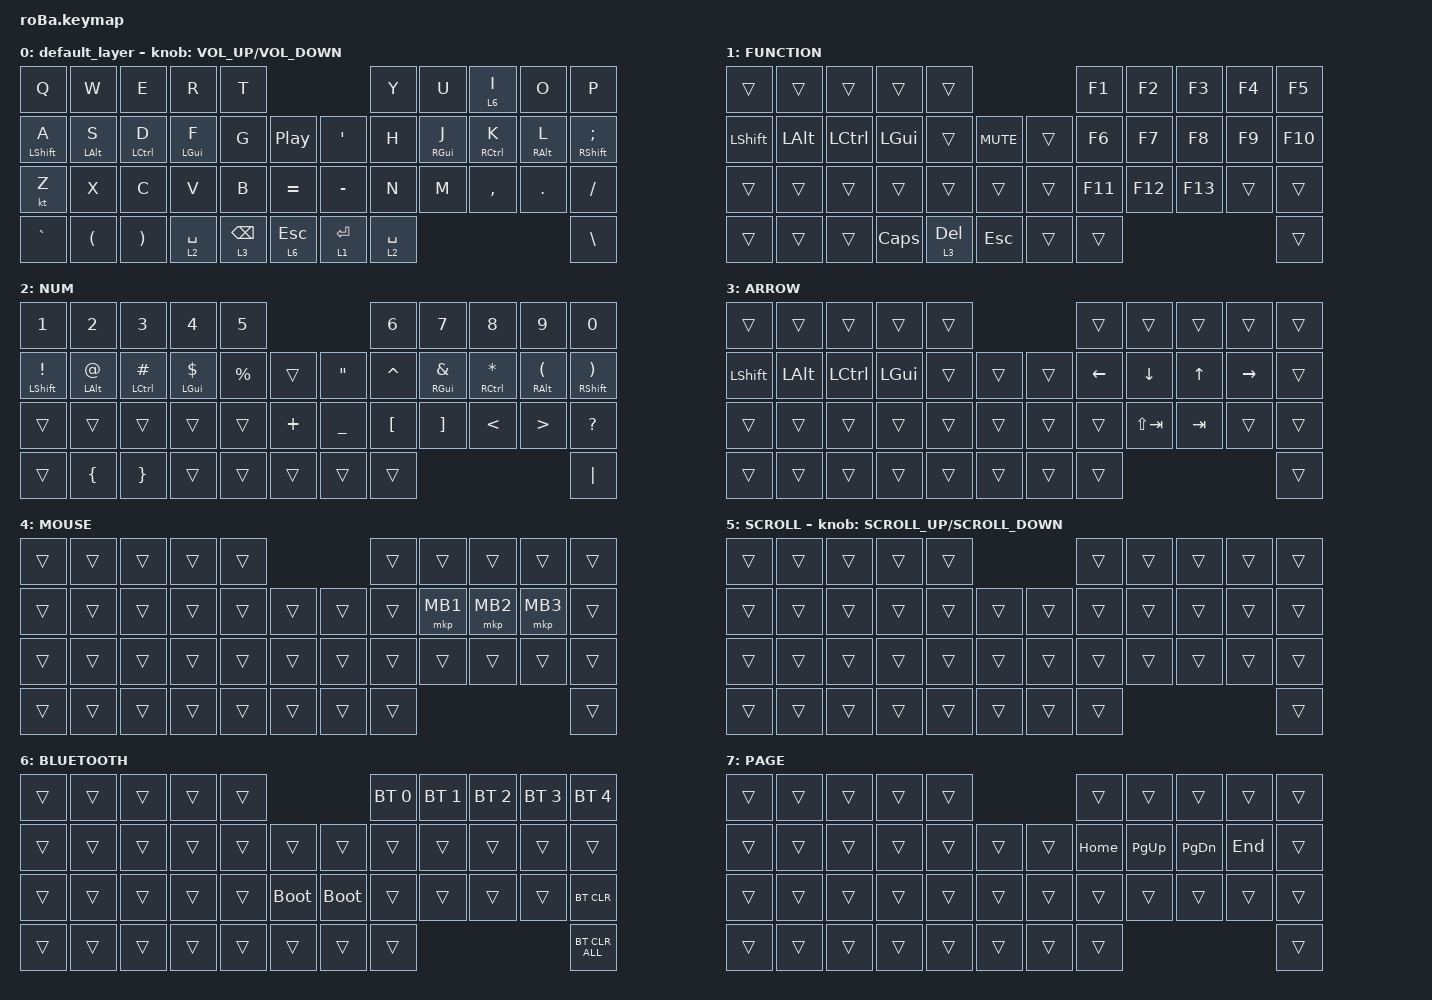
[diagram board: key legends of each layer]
// https://nickcoutsos.github.io/keymap-editor

#include <behaviors.dtsi>
#include <dt-bindings/zmk/bt.h>
#include <dt-bindings/zmk/keys.h>
#include <dt-bindings/zmk/pointing.h>

&mt {
    flavor = "balanced";
    quick-tap-ms = <150>;
};

&lt {
    quick-tap-ms = <200>;
    flavor = "hold-preferred";
};

&trackball {
    automouse-layer = <4>;
    scroll-layers = <5>;
};

/ {
    combos {
        compatible = "zmk,combos";

        double_quotation {
            bindings = <&kp DOUBLE_QUOTES>;
            key-positions = <16 17>;
        };

        plus {
            bindings = <&kp PLUS>;
            key-positions = <26 27>;
        };

        left-bracket {
            bindings = <&kp LEFT_BRACKET>;
            key-positions = <34 35>;
        };

        right-bracket {
            bindings = <&kp RIGHT_BRACKET>;
            key-positions = <35 36>;
        };

        colon {
            bindings = <&kp COLON>;
            key-positions = <32 31>;
        };

        tilde {
            bindings = <&kp TILDE>;
            key-positions = <3 2>;
        };
    };

    behaviors {
        hm: homerow_mods {
            compatible = "zmk,behavior-hold-tap";
            label = "HOMEROW_MODS";
            #binding-cells = <2>;
            tapping-term-ms = <200>;
            flavor = "balanced";
            bindings = <&kp>, <&kp>;

            quick-tap-ms = <150>;
        };
    };

    keymap {
        compatible = "zmk,keymap";

        default_layer {
            bindings = <
&kp Q         &kp W                 &kp E                  &kp R        &kp T                                               &kp Y        &kp U       &lt 6 I      &kp O       &kp P
&hm LSHIFT A  &hm LALT S            &hm LCTRL D            &hm LGUI F   &kp G            &kp C_PLAY_PAUSE      &kp SQT      &kp H        &hm RGUI J  &hm RCTRL K  &hm RALT L  &hm RSHIFT SEMICOLON
&kt Z         &kp X                 &kp C                  &kp V        &kp B            &kp EQUAL             &kp MINUS    &kp N        &kp M       &kp COMMA    &kp DOT     &kp SLASH
&kp GRAVE     &kp LEFT_PARENTHESIS  &kp RIGHT_PARENTHESIS  &lt 2 SPACE  &lt 3 BACKSPACE  &lt 6 ESCAPE          &lt 1 ENTER  &lt 2 SPACE                                       &kp BSLH
            >;

            sensor-bindings = <&inc_dec_kp C_VOLUME_UP C_VOLUME_DOWN>;
        };

        FUNCTION {
            bindings = <
&trans      &trans    &trans     &trans        &trans                                &kp F1   &kp F2   &kp F3   &kp F4  &kp F5
&kp LSHIFT  &kp LALT  &kp LCTRL  &kp LGUI      &trans        &kp C_MUTE      &trans  &kp F6   &kp F7   &kp F8   &kp F9  &kp F10
&trans      &trans    &trans     &trans        &trans        &trans          &trans  &kp F11  &kp F12  &kp F13  &trans  &trans
&trans      &trans    &trans     &kp CAPSLOCK  &lt 3 DELETE  &kp ESCAPE      &trans  &trans                             &trans
            >;
        };

        NUM {
            bindings = <
&kp NUMBER_1                &kp NUMBER_2          &kp NUMBER_3     &kp NUMBER_4     &kp NUMBER_5                                   &kp NUMBER_6      &kp NUMBER_7        &kp NUMBER_8        &kp NUMBER_9               &kp NUMBER_0
&hm LEFT_SHIFT EXCLAMATION  &hm LEFT_ALT AT_SIGN  &hm LCTRL HASH   &hm LGUI DOLLAR  &kp PERCENT   &trans        &kp DOUBLE_QUOTES  &kp CARET         &hm RGUI AMPERSAND  &hm RCTRL ASTERISK  &hm RALT LEFT_PARENTHESIS  &hm RSHIFT RIGHT_PARENTHESIS
&trans                      &trans                &trans           &trans           &trans        &kp PLUS      &kp UNDERSCORE     &kp LEFT_BRACKET  &kp RIGHT_BRACKET   &kp LESS_THAN       &kp GREATER_THAN           &kp QUESTION
&trans                      &kp LEFT_BRACE        &kp RIGHT_BRACE  &trans           &trans        &trans        &trans             &trans                                                                               &kp PIPE
            >;
        };

        ARROW {
            bindings = <
&trans      &trans    &trans     &trans    &trans                      &trans    &trans       &trans   &trans     &trans
&kp LSHIFT  &kp LALT  &kp LCTRL  &kp LGUI  &trans  &trans      &trans  &kp LEFT  &kp DOWN     &kp UP   &kp RIGHT  &trans
&trans      &trans    &trans     &trans    &trans  &trans      &trans  &trans    &kp LS(TAB)  &kp TAB  &trans     &trans
&trans      &trans    &trans     &trans    &trans  &trans      &trans  &trans                                     &trans
            >;
        };

        MOUSE {
            bindings = <
&trans  &trans  &trans  &trans  &trans                      &trans  &trans    &trans    &trans    &trans
&trans  &trans  &trans  &trans  &trans  &trans      &trans  &trans  &mkp MB1  &mkp MB2  &mkp MB3  &trans
&trans  &trans  &trans  &trans  &trans  &trans      &trans  &trans  &trans    &trans    &trans    &trans
&trans  &trans  &trans  &trans  &trans  &trans      &trans  &trans                                &trans
            >;
        };

        SCROLL {
            bindings = <
&trans  &trans  &trans  &trans  &trans                      &trans  &trans  &trans  &trans  &trans
&trans  &trans  &trans  &trans  &trans  &trans      &trans  &trans  &trans  &trans  &trans  &trans
&trans  &trans  &trans  &trans  &trans  &trans      &trans  &trans  &trans  &trans  &trans  &trans
&trans  &trans  &trans  &trans  &trans  &trans      &trans  &trans                          &trans
            >;

            sensor-bindings = <&inc_dec_kp K_SCROLL_UP K_SCROLL_DOWN>;
        };

        BLUETOOTH {
            bindings = <
&trans  &trans  &trans  &trans  &trans                                &bt BT_SEL 0  &bt BT_SEL 1  &bt BT_SEL 2  &bt BT_SEL 3  &bt BT_SEL 4
&trans  &trans  &trans  &trans  &trans  &trans           &trans       &trans        &trans        &trans        &trans        &trans
&trans  &trans  &trans  &trans  &trans  &bootloader      &bootloader  &trans        &trans        &trans        &trans        &bt BT_CLR
&trans  &trans  &trans  &trans  &trans  &trans           &trans       &trans                                                  &bt BT_CLR_ALL
            >;
        };

        PAGE {
            bindings = <
&trans  &trans  &trans  &trans  &trans                      &trans    &trans       &trans         &trans   &trans
&trans  &trans  &trans  &trans  &trans  &trans      &trans  &kp HOME  &kp PAGE_UP  &kp PAGE_DOWN  &kp END  &trans
&trans  &trans  &trans  &trans  &trans  &trans      &trans  &trans    &trans       &trans         &trans   &trans
&trans  &trans  &trans  &trans  &trans  &trans      &trans  &trans                                         &trans
            >;
        };
    };

    conditional_layers {
        compatible = "zmk,conditional-layers";

        page-layer {
            if-layers = <1 3>;
            then-layer = <7>;
        };
    };
};
